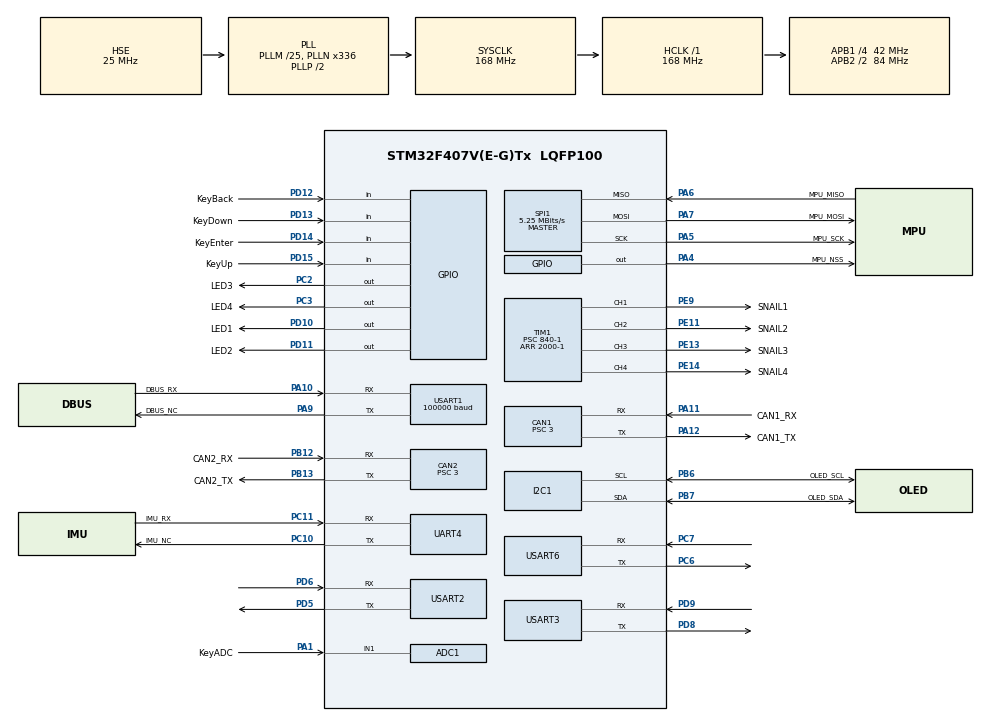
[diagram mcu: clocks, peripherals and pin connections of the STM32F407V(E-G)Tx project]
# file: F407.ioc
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ADC1.Channel-1\#ChannelRegularConversion=ADC_CHANNEL_1
ADC1.Channel-2\#ChannelInjectedConversion=ADC_CHANNEL_1
ADC1.InjNumberOfConversion=1
ADC1.InjectedOffset-2\#ChannelInjectedConversion=0
ADC1.InjectedRank-2\#ChannelInjectedConversion=1
ADC1.NbrOfConversion=1
ADC1.NbrOfConversionFlag=1
ADC1.Rank-1\#ChannelRegularConversion=1
ADC1.SamplingTime-1\#ChannelRegularConversion=ADC_SAMPLETIME_3CYCLES
ADC1.SamplingTime-2\#ChannelInjectedConversion=ADC_SAMPLETIME_3CYCLES
ADC1.master=1
CAN1.BS1=CAN_BS1_9TQ
CAN1.BS2=CAN_BS2_4TQ
CAN1.CalculateBaudRate=1000000
CAN1.CalculateTimeBit=1000
CAN1.CalculateTimeQuantum=71.42857142857143
CAN1.Prescaler=3
CAN2.BS1=CAN_BS1_9TQ
CAN2.BS2=CAN_BS2_4TQ
CAN2.CalculateBaudRate=1000000
CAN2.CalculateTimeBit=1000
CAN2.CalculateTimeQuantum=71.42857142857143
CAN2.Prescaler=3
Dma.Request0=USART1_RX
Dma.Request1=USART3_RX
Dma.Request2=USART3_TX
Dma.USART1_RX.0.Direction=DMA_PERIPH_TO_MEMORY
Dma.USART1_RX.0.FIFOMode=DMA_FIFOMODE_DISABLE
Dma.USART1_RX.0.Instance=DMA2_Stream2
Dma.USART1_RX.0.MemDataAlignment=DMA_MDATAALIGN_BYTE
Dma.USART1_RX.0.MemInc=DMA_MINC_ENABLE
Dma.USART1_RX.0.Mode=DMA_NORMAL
Dma.USART1_RX.0.PeriphDataAlignment=DMA_PDATAALIGN_BYTE
Dma.USART1_RX.0.PeriphInc=DMA_PINC_DISABLE
Dma.USART1_RX.0.Priority=DMA_PRIORITY_VERY_HIGH
Dma.USART3_RX.1.Direction=DMA_PERIPH_TO_MEMORY
Dma.USART3_RX.1.FIFOMode=DMA_FIFOMODE_DISABLE
Dma.USART3_RX.1.Instance=DMA1_Stream1
Dma.USART3_RX.1.MemDataAlignment=DMA_MDATAALIGN_BYTE
Dma.USART3_RX.1.MemInc=DMA_MINC_ENABLE
Dma.USART3_RX.1.Mode=DMA_NORMAL
Dma.USART3_RX.1.PeriphDataAlignment=DMA_PDATAALIGN_BYTE
Dma.USART3_RX.1.PeriphInc=DMA_PINC_DISABLE
Dma.USART3_RX.1.Priority=DMA_PRIORITY_MEDIUM
Dma.USART3_TX.2.Direction=DMA_MEMORY_TO_PERIPH
Dma.USART3_TX.2.FIFOMode=DMA_FIFOMODE_DISABLE
Dma.USART3_TX.2.Instance=DMA1_Stream3
Dma.USART3_TX.2.MemDataAlignment=DMA_MDATAALIGN_BYTE
Dma.USART3_TX.2.MemInc=DMA_MINC_ENABLE
Dma.USART3_TX.2.Mode=DMA_NORMAL
Dma.USART3_TX.2.PeriphDataAlignment=DMA_PDATAALIGN_BYTE
Dma.USART3_TX.2.PeriphInc=DMA_PINC_DISABLE
Dma.USART3_TX.2.Priority=DMA_PRIORITY_MEDIUM
FREERTOS.Queues01=RDtHMsg,16,uint32_t,0,Dynamic,NULL,NULL;RDtCMsg,16,uint32_t,0,Dynamic,NULL,NULL;RDtSMsg,16,uint32_t,0,Dynamic,NULL,NULL;HDtHMsg,16,uint32_t,0,Dynamic,NULL,NULL
FREERTOS.Tasks01=LED,-3,64,taskLED,Default,NULL,Dynamic,NULL,NULL;MSG,2,128,taskMsg,Default,NULL,Dynamic,NULL,NULL;UI,-1,128,taskUI,Default,NULL,Dynamic,NULL,NULL;KEY,-1,128,taskKey,Default,NULL,Dynamic,NULL,NULL;Chassis,3,512,taskChassis,Default,NULL,Dynamic,NULL,NULL;Holder,3,512,taskHolder,Default,NULL,Dynamic,NULL,NULL;Judge,2,1024,taskJudge,Default,NULL,Dynamic,NULL,NULL;Shoot,1,128,taskShoot,Default,NULL,Dynamic,NULL,NULL
FREERTOS.configENABLE_FPU=1
FREERTOS.configMAX_PRIORITIES=7
FREERTOS.configMINIMAL_STACK_SIZE=64
FREERTOS.configQUEUE_REGISTRY_SIZE=16
I2C1.DualAddressMode=I2C_DUALADDRESS_DISABLE
I2C1.I2C_Mode=I2C_Fast
I2C1.OwnAddress=0
Mcu.Family=STM32F4
Mcu.Name=STM32F407V(E-G)Tx
Mcu.Package=LQFP100
NVIC.CAN1_RX0_IRQn=true\:5\:0\:false\:false\:true\:true\:true\:true\:true
NVIC.CAN1_TX_IRQn=true\:5\:0\:false\:false\:true\:true\:true\:true\:true
NVIC.CAN2_RX0_IRQn=true\:5\:0\:false\:false\:true\:true\:true\:true\:true
NVIC.CAN2_TX_IRQn=true\:5\:0\:false\:false\:true\:true\:true\:true\:true
NVIC.DMA1_Stream1_IRQn=true\:5\:0\:false\:false\:true\:true\:false\:true\:true
NVIC.DMA1_Stream3_IRQn=true\:5\:0\:false\:false\:true\:true\:false\:true\:true
NVIC.DMA2_Stream2_IRQn=true\:5\:0\:false\:false\:true\:true\:false\:true\:true
NVIC.PriorityGroup=NVIC_PRIORITYGROUP_4
NVIC.TIM1_TRG_COM_TIM11_IRQn=true\:5\:0\:false\:false\:true\:true\:true\:true\:true
NVIC.TIM1_UP_TIM10_IRQn=true\:5\:0\:false\:false\:true\:true\:true\:true\:true
NVIC.TIM6_DAC_IRQn=true\:0\:0\:false\:false\:true\:false\:false\:true\:true
NVIC.TIM7_IRQn=true\:1\:0\:true\:false\:true\:false\:true\:true\:true
NVIC.TIM8_TRG_COM_TIM14_IRQn=true\:5\:0\:false\:false\:true\:true\:true\:true\:true
NVIC.TimeBase=TIM6_DAC_IRQn
NVIC.TimeBaseIP=TIM6
NVIC.UART4_IRQn=true\:5\:0\:false\:false\:true\:false\:true\:true\:true
NVIC.USART1_IRQn=true\:0\:0\:true\:false\:true\:false\:true\:true\:true
NVIC.USART2_IRQn=true\:5\:0\:false\:false\:true\:true\:true\:true\:true
NVIC.USART3_IRQn=true\:5\:0\:false\:false\:true\:true\:true\:true\:true
NVIC.USART6_IRQn=true\:5\:0\:false\:false\:true\:true\:true\:true\:true
PA1.GPIO_Label=KeyADC
PA1.Signal=ADCx_IN1
PA10.GPIO_Label=DBUS_RX
PA10.Mode=Asynchronous
PA10.Signal=USART1_RX
PA11.GPIO_Label=CAN1_RX
PA11.Mode=CAN_Activate
PA11.Signal=CAN1_RX
PA12.GPIO_Label=CAN1_TX
PA12.Mode=CAN_Activate
PA12.Signal=CAN1_TX
PA13.GPIO_Label=SWDIO
PA13.Mode=Serial_Wire
PA13.Signal=SYS_JTMS-SWDIO
PA14.GPIO_Label=SWCLK
PA14.Mode=Serial_Wire
PA14.Signal=SYS_JTCK-SWCLK
PA4.GPIO_Label=MPU_NSS
PA4.GPIO_PuPd=GPIO_PULLUP
PA4.GPIO_Speed=GPIO_SPEED_FREQ_HIGH
PA4.Signal=GPIO_Output
PA5.GPIO_Label=MPU_SCK
PA5.Mode=Full_Duplex_Master
PA5.Signal=SPI1_SCK
PA6.GPIO_Label=MPU_MISO
PA6.Mode=Full_Duplex_Master
PA6.Signal=SPI1_MISO
PA7.GPIO_Label=MPU_MOSI
PA7.Mode=Full_Duplex_Master
PA7.Signal=SPI1_MOSI
PA9.GPIO_Label=DBUS_NC
PA9.Mode=Asynchronous
PA9.Signal=USART1_TX
PB12.GPIO_Label=CAN2_RX
PB12.Mode=CAN_Activate
PB12.Signal=CAN2_RX
PB13.GPIO_Label=CAN2_TX
PB13.Mode=CAN_Activate
PB13.Signal=CAN2_TX
PB6.GPIO_Label=OLED_SCL
PB6.Mode=I2C
PB6.Signal=I2C1_SCL
PB7.GPIO_Label=OLED_SDA
PB7.Mode=I2C
PB7.Signal=I2C1_SDA
PC10.GPIO_Label=IMU_NC
PC10.Mode=Asynchronous
PC10.Signal=UART4_TX
PC11.GPIO_Label=IMU_RX
PC11.Mode=Asynchronous
PC11.Signal=UART4_RX
PC2.GPIO_Label=LED3
PC2.GPIO_PuPd=GPIO_PULLUP
PC2.GPIO_Speed=GPIO_SPEED_FREQ_HIGH
PC2.Signal=GPIO_Output
PC3.GPIO_Label=LED4
PC3.GPIO_PuPd=GPIO_PULLUP
PC3.GPIO_Speed=GPIO_SPEED_FREQ_HIGH
PC3.Signal=GPIO_Output
PC6.Mode=Asynchronous
PC6.Signal=USART6_TX
PC7.Mode=Asynchronous
PC7.Signal=USART6_RX
PD10.GPIO_Label=LED1
PD10.GPIO_PuPd=GPIO_PULLUP
PD10.GPIO_Speed=GPIO_SPEED_FREQ_HIGH
PD10.Signal=GPIO_Output
PD11.GPIO_Label=LED2
PD11.GPIO_PuPd=GPIO_PULLUP
PD11.GPIO_Speed=GPIO_SPEED_FREQ_HIGH
PD11.Signal=GPIO_Output
PD12.GPIO_Label=KeyBack
PD12.GPIO_PuPd=GPIO_PULLUP
PD12.Signal=GPIO_Input
PD13.GPIO_Label=KeyDown
PD13.GPIO_PuPd=GPIO_PULLUP
PD13.Signal=GPIO_Input
PD14.GPIO_Label=KeyEnter
PD14.GPIO_PuPd=GPIO_PULLUP
PD14.Signal=GPIO_Input
PD15.GPIO_Label=KeyUp
PD15.GPIO_PuPd=GPIO_PULLUP
PD15.Signal=GPIO_Input
PD5.Mode=Asynchronous
PD5.Signal=USART2_TX
PD6.Mode=Asynchronous
PD6.Signal=USART2_RX
PD8.Mode=Asynchronous
PD8.Signal=USART3_TX
PD9.Mode=Asynchronous
PD9.Signal=USART3_RX
PE11.GPIO_Label=SNAIL2
PE11.Signal=S_TIM1_CH2
PE13.GPIO_Label=SNAIL3
PE13.Signal=S_TIM1_CH3
PE14.GPIO_Label=SNAIL4
PE14.Signal=S_TIM1_CH4
PE9.GPIO_Label=SNAIL1
PE9.Signal=S_TIM1_CH1
PH0-OSC_IN.GPIO_Label=OSC_IN
PH0-OSC_IN.Mode=HSE-External-Oscillator
PH0-OSC_IN.Signal=RCC_OSC_IN
PH1-OSC_OUT.GPIO_Label=OSC_OUT
PH1-OSC_OUT.Mode=HSE-External-Oscillator
PH1-OSC_OUT.Signal=RCC_OSC_OUT
ProjectManager.HeapSize=0x200
ProjectManager.StackSize=0x400
ProjectManager.TargetToolchain=MDK-ARM V5
RCC.48MHZClocksFreq_Value=84000000
RCC.AHBFreq_Value=168000000
RCC.APB1CLKDivider=RCC_HCLK_DIV4
RCC.APB1Freq_Value=42000000
RCC.APB1TimFreq_Value=84000000
RCC.APB2CLKDivider=RCC_HCLK_DIV2
RCC.APB2Freq_Value=84000000
RCC.APB2TimFreq_Value=168000000
RCC.CortexFreq_Value=168000000
RCC.HCLKFreq_Value=168000000
RCC.HSE_VALUE=25000000
RCC.HSI_VALUE=16000000
RCC.LSE_VALUE=32768
RCC.PLLM=25
RCC.PLLN=336
RCC.PLLSourceVirtual=RCC_PLLSOURCE_HSE
RCC.SYSCLKFreq_VALUE=168000000
RCC.SYSCLKSource=RCC_SYSCLKSOURCE_PLLCLK
RCC.VCOOutputFreq_Value=336000000
SH.ADCx_IN1.0=ADC1_IN1,IN1
SH.S_TIM1_CH1.0=TIM1_CH1,PWM Generation1 CH1
SH.S_TIM1_CH2.0=TIM1_CH2,PWM Generation2 CH2
SH.S_TIM1_CH3.0=TIM1_CH3,PWM Generation3 CH3
SH.S_TIM1_CH4.0=TIM1_CH4,PWM Generation4 CH4
SPI1.BaudRatePrescaler=SPI_BAUDRATEPRESCALER_16
SPI1.CLKPhase=SPI_PHASE_2EDGE
SPI1.CLKPolarity=SPI_POLARITY_HIGH
SPI1.CRCCalculation=SPI_CRCCALCULATION_DISABLE
SPI1.CalculateBaudRate=5.25 MBits/s
SPI1.Direction=SPI_DIRECTION_2LINES
SPI1.Mode=SPI_MODE_MASTER
SPI1.VirtualType=VM_MASTER
TIM1.Channel-PWM\ Generation1\ CH1=TIM_CHANNEL_1
TIM1.Channel-PWM\ Generation2\ CH2=TIM_CHANNEL_2
TIM1.Channel-PWM\ Generation3\ CH3=TIM_CHANNEL_3
TIM1.Channel-PWM\ Generation4\ CH4=TIM_CHANNEL_4
TIM1.Period=2000-1
TIM1.Prescaler=840-1
TIM1.Pulse-PWM\ Generation1\ CH1=1000
TIM1.Pulse-PWM\ Generation2\ CH2=1000
TIM1.Pulse-PWM\ Generation3\ CH3=1000
TIM1.Pulse-PWM\ Generation4\ CH4=1000
TIM10.Period=6667-1
TIM10.Prescaler=84-1
TIM11.Period=6667-1
TIM11.Prescaler=84-1
TIM14.Period=2500-1
TIM14.Prescaler=8400-1
TIM7.Period=65536-1
TIM7.Prescaler=84-1
UART4.VirtualMode=Asynchronous
USART1.BaudRate=100000
USART1.Mode=MODE_RX
USART1.Parity=PARITY_EVEN
USART1.VirtualMode=VM_ASYNC
USART1.WordLength=WORDLENGTH_9B
USART2.VirtualMode=VM_ASYNC
USART3.VirtualMode=VM_ASYNC
USART6.VirtualMode=VM_ASYNC
VP_FREERTOS_VS_CMSIS_V1.Mode=CMSIS_V1
VP_SYS_VS_tim6.Mode=TIM6
VP_TIM10_VS_ClockSourceINT.Mode=Enable_Timer
VP_TIM11_VS_ClockSourceINT.Mode=Enable_Timer
VP_TIM14_VS_ClockSourceINT.Mode=Enable_Timer
VP_TIM7_VS_ClockSourceINT.Mode=Enable_Timer
board=custom

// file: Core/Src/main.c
/* USER CODE BEGIN Header */
/**
  ******************************************************************************
  * @file           : main.c
  * @brief          : Main program body
  ******************************************************************************
  * @attention
  *
  * <h2><center>&copy; Copyright (c) 2020 STMicroelectronics.
  * All rights reserved.</center></h2>
  *
  * This software component is licensed by ST under Ultimate Liberty license
  * SLA0044, the "License"; You may not use this file except in compliance with
  * the License. You may obtain a copy of the License at:
  *                             www.st.com/SLA0044
  *
  ******************************************************************************
  */
/* USER CODE END Header */
#include "main.h"
#include "cmsis_os.h"
#include "adc.h"
#include "can.h"
#include "dma.h"
#include "i2c.h"
#include "spi.h"
#include "tim.h"
#include "usart.h"
#include "gpio.h"

/* USER CODE BEGIN Includes */
#include "mpu6500.h"
#include "oled.h"
#include <string.h>
#include "chassis.h"
#include "holder.h"
#include "judge.h"
#include "ammunition.h"
#include "frictiongear.h"

/* USER CODE END Includes */

void SystemClock_Config(void);
void MX_FREERTOS_Init(void);

int main(void)
{

  /* MCU Configuration--------------------------------------------------------*/

  /* Reset of all peripherals, Initializes the Flash interface and the Systick. */
  HAL_Init();

  /* Configure the system clock */
  SystemClock_Config();

  /* Initialize all configured peripherals */
  MX_GPIO_Init();
  MX_DMA_Init();
  MX_USART1_UART_Init();
  MX_USART2_UART_Init();
  MX_CAN1_Init();
  MX_CAN2_Init();
  MX_I2C1_Init();
  MX_UART4_Init();
  MX_SPI1_Init();
  MX_TIM7_Init();
  MX_TIM14_Init();
  MX_ADC1_Init();
  MX_TIM1_Init();
  MX_TIM10_Init();
  MX_USART3_UART_Init();
  MX_USART6_UART_Init();
  MX_TIM11_Init();
  /* USER CODE BEGIN 2 */
	Judge_InitData();
	UART4_IMUStart();
	UART3_JudgeStart();
	UART6_VisionStart();
  UART1_RemoteStart();
  TIM1_PWMSTART();
  TIM14_START();
	CAN1_FilterInit();
  CAN2_FilterInit();
	TIM_TX_START();
  ADC1_IN1START();
  OLED_Init();
  HAL_Delay(1000);
  /* USER CODE END 2 */

  /* Call init function for freertos objects (in freertos.c) */
  MX_FREERTOS_Init();
  /* Start scheduler */
  osKernelStart();

  /* We should never get here as control is now taken by the scheduler */
  /* Infinite loop */
  while (1)
  {

  }
}

void SystemClock_Config(void)
{
  RCC_OscInitTypeDef RCC_OscInitStruct = {0};
  RCC_ClkInitTypeDef RCC_ClkInitStruct = {0};

  /** Configure the main internal regulator output voltage
  */
  __HAL_RCC_PWR_CLK_ENABLE();
  __HAL_PWR_VOLTAGESCALING_CONFIG(PWR_REGULATOR_VOLTAGE_SCALE1);
  /** Initializes the RCC Oscillators according to the specified parameters
  * in the RCC_OscInitTypeDef structure.
  */
  RCC_OscInitStruct.OscillatorType = RCC_OSCILLATORTYPE_HSE;
  RCC_OscInitStruct.HSEState = RCC_HSE_ON;
  RCC_OscInitStruct.PLL.PLLState = RCC_PLL_ON;
  RCC_OscInitStruct.PLL.PLLSource = RCC_PLLSOURCE_HSE;
  RCC_OscInitStruct.PLL.PLLM = 25;
  RCC_OscInitStruct.PLL.PLLN = 336;
  RCC_OscInitStruct.PLL.PLLP = RCC_PLLP_DIV2;
  RCC_OscInitStruct.PLL.PLLQ = 4;
  if (HAL_RCC_OscConfig(&RCC_OscInitStruct) != HAL_OK)
  {
    Error_Handler();
  }
  /** Initializes the CPU, AHB and APB buses clocks
  */
  RCC_ClkInitStruct.ClockType = RCC_CLOCKTYPE_HCLK|RCC_CLOCKTYPE_SYSCLK
                              |RCC_CLOCKTYPE_PCLK1|RCC_CLOCKTYPE_PCLK2;
  RCC_ClkInitStruct.SYSCLKSource = RCC_SYSCLKSOURCE_PLLCLK;
  RCC_ClkInitStruct.AHBCLKDivider = RCC_SYSCLK_DIV1;
  RCC_ClkInitStruct.APB1CLKDivider = RCC_HCLK_DIV4;
  RCC_ClkInitStruct.APB2CLKDivider = RCC_HCLK_DIV2;

  if (HAL_RCC_ClockConfig(&RCC_ClkInitStruct, FLASH_LATENCY_5) != HAL_OK)
  {
    Error_Handler();
  }
}

 /**
  * @brief  Period elapsed callback in non blocking mode
  * @note   This function is called  when TIM6 interrupt took place, inside
  * HAL_TIM_IRQHandler(). It makes a direct call to HAL_IncTick() to increment
  * a global variable "uwTick" used as application time base.
  * @param  htim : TIM handle
  * @retval None
  */
void HAL_TIM_PeriodElapsedCallback(TIM_HandleTypeDef *htim)
{
  if (htim->Instance == TIM6) {
    HAL_IncTick();
  }
  /* USER CODE BEGIN Callback 1 */
  if(htim->Instance == TIM14)
	{
    Observer.Tx = Observer.Rx;
    memset(&Observer.Rx,0,sizeof(rate_t));
  }
	if(htim->Instance == TIM10)
	{
		CAN1_Transmit(0x200,Frictiongear.CanData1);    //摩擦轮控制
		CAN1_Transmit(0x1FF,Holder.Pitch.CanData);				//俯仰控制
		CAN1_Transmit(0x2FF,Holder.Pitch.CanData);				//俯仰控制
	}
	if(htim->Instance == TIM11)
	{
		CAN2_Transmit(0x500,Chassis.CanData);            //发送三向速度目标值（0-5）和是否应该发弹（6）、遥控器开启标志（7）
		CAN2_Transmit(0x600,Holder.Yaw.CanData);         //发送云台目前状态和遥控器控制信息给底盘、
		CAN2_Transmit(0x700,Chassis.Key_SUPERCAP);				//发送超级电容开启标志
		//	CanTranPower();
	}
  /* USER CODE END Callback 1 */
}

void Error_Handler(void)
{
}

/************************ (C) COPYRIGHT STMicroelectronics *****END OF FILE****/

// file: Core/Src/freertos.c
/* USER CODE BEGIN Header */
/**
  ******************************************************************************
  * File Name          : freertos.c
  * Description        : Code for freertos applications
  ******************************************************************************
  * @attention
  *
  * <h2><center>&copy; Copyright (c) 2020 STMicroelectronics.
  * All rights reserved.</center></h2>
  *
  * This software component is licensed by ST under Ultimate Liberty license
  * SLA0044, the "License"; You may not use this file except in compliance with
  * the License. You may obtain a copy of the License at:
  *                             www.st.com/SLA0044
  *
  ******************************************************************************
  */
/* USER CODE END Header */

#include "FreeRTOS.h"
#include "task.h"
#include "main.h"
#include "cmsis_os.h"

/* USER CODE BEGIN Includes */
#include "tim.h"
#include "usart.h"
#include "message.h"
#include "holder.h"
#include "chassis.h"
#include "ui.h"
#include "keyboard.h"
#include "pid.h"
#include "can.h"
#include "judge.h"
#include "ammunition.h"
#include "frictiongear.h"
#include "vision.h"
/* USER CODE END Includes */

/* USER CODE BEGIN Variables */
osEvent evt;
osEvent evt1;
/* USER CODE END Variables */
osThreadId LEDHandle;
osThreadId MSGHandle;
osThreadId UIHandle;
osThreadId KEYHandle;
osThreadId ChassisHandle;
osThreadId HolderHandle;
osThreadId JudgeHandle;
osThreadId ShootHandle;
osMessageQId RDtHMsgHandle;
osMessageQId RDtCMsgHandle;
osMessageQId RDtSMsgHandle;
osMessageQId HDtHMsgHandle;

void taskLED(void const * argument);
void taskMsg(void const * argument);
void taskUI(void const * argument);
void taskKey(void const * argument);
void taskChassis(void const * argument);
void taskHolder(void const * argument);
void taskJudge(void const * argument);
void taskShoot(void const * argument);

void MX_FREERTOS_Init(void); /* (MISRA C 2004 rule 8.1) */

/* GetIdleTaskMemory prototype (linked to static allocation support) */
void vApplicationGetIdleTaskMemory( StaticTask_t **ppxIdleTaskTCBBuffer, StackType_t **ppxIdleTaskStackBuffer, uint32_t *pulIdleTaskStackSize );

/* USER CODE BEGIN GET_IDLE_TASK_MEMORY */
static StaticTask_t xIdleTaskTCBBuffer;
static StackType_t xIdleStack[configMINIMAL_STACK_SIZE];

void vApplicationGetIdleTaskMemory( StaticTask_t **ppxIdleTaskTCBBuffer, StackType_t **ppxIdleTaskStackBuffer, uint32_t *pulIdleTaskStackSize )
{
  *ppxIdleTaskTCBBuffer = &xIdleTaskTCBBuffer;
  *ppxIdleTaskStackBuffer = &xIdleStack[0];
  *pulIdleTaskStackSize = configMINIMAL_STACK_SIZE;
  /* place for user code */
}
/* USER CODE END GET_IDLE_TASK_MEMORY */

void MX_FREERTOS_Init(void) {

  /* Create the queue(s) */
  /* definition and creation of RDtHMsg */
  osMessageQDef(RDtHMsg, 16, uint32_t);
  RDtHMsgHandle = osMessageCreate(osMessageQ(RDtHMsg), NULL);

  /* definition and creation of RDtCMsg */
  osMessageQDef(RDtCMsg, 16, uint32_t);
  RDtCMsgHandle = osMessageCreate(osMessageQ(RDtCMsg), NULL);

  /* definition and creation of RDtSMsg */
  osMessageQDef(RDtSMsg, 16, uint32_t);
  RDtSMsgHandle = osMessageCreate(osMessageQ(RDtSMsg), NULL);

  /* definition and creation of HDtHMsg */
  osMessageQDef(HDtHMsg, 16, uint32_t);
  HDtHMsgHandle = osMessageCreate(osMessageQ(HDtHMsg), NULL);

  /* Create the thread(s) */
  /* definition and creation of LED */
  osThreadDef(LED, taskLED, osPriorityIdle, 0, 64);
  LEDHandle = osThreadCreate(osThread(LED), NULL);

  /* definition and creation of MSG */
  osThreadDef(MSG, taskMsg, osPriorityHigh, 0, 128);
  MSGHandle = osThreadCreate(osThread(MSG), NULL);

  /* definition and creation of UI */
  osThreadDef(UI, taskUI, osPriorityBelowNormal, 0, 128);
  UIHandle = osThreadCreate(osThread(UI), NULL);

  /* definition and creation of KEY */
  osThreadDef(KEY, taskKey, osPriorityBelowNormal, 0, 128);
  KEYHandle = osThreadCreate(osThread(KEY), NULL);

  /* definition and creation of Chassis */
  osThreadDef(Chassis, taskChassis, osPriorityRealtime, 0, 512);
  ChassisHandle = osThreadCreate(osThread(Chassis), NULL);

  /* definition and creation of Holder */
  osThreadDef(Holder, taskHolder, osPriorityRealtime, 0, 512);
  HolderHandle = osThreadCreate(osThread(Holder), NULL);

  /* definition and creation of Judge */
  osThreadDef(Judge, taskJudge, osPriorityHigh, 0, 1024);
  JudgeHandle = osThreadCreate(osThread(Judge), NULL);

  /* definition and creation of Shoot */
  osThreadDef(Shoot, taskShoot, osPriorityAboveNormal, 0, 128);
  ShootHandle = osThreadCreate(osThread(Shoot), NULL);

}

void taskLED(void const * argument)
{
  /* USER CODE BEGIN taskLED */
    HAL_GPIO_WritePin(GPIOD, LED1_Pin, GPIO_PIN_RESET);
    HAL_GPIO_WritePin(GPIOD, LED2_Pin, GPIO_PIN_SET);
    HAL_GPIO_WritePin(GPIOC, LED3_Pin, GPIO_PIN_RESET);
    HAL_GPIO_WritePin(GPIOC, LED4_Pin, GPIO_PIN_SET);
  /* Infinite loop */
  for(;;)
  {
    HAL_GPIO_TogglePin(GPIOD, LED1_Pin);
    HAL_GPIO_TogglePin(GPIOD, LED2_Pin);
    HAL_GPIO_TogglePin(GPIOC, LED3_Pin);
    HAL_GPIO_TogglePin(GPIOC, LED4_Pin);
    TIM1_SetPWMPluse(pluse);
		Vision_SendData();
    osDelay(1);
  }
  /* USER CODE END taskLED */
}

void taskMsg(void const * argument)
{
  /* USER CODE BEGIN taskMsg */
	keyboard_controlinit();
  /* Infinite loop */
  for(;;)
  {
    RemoteData_t RDMsg;
    HolderData_t HDMsg;
    RemoteDataMsg_Process(&RDMsg);
    HolderDataMsg_Process(&HDMsg);
	  keyboard_state_judge(RDMsg,HDMsg);
    osMessagePut(RDtHMsgHandle,(uint32_t)&RDMsg,0);
    osMessagePut(RDtCMsgHandle,(uint32_t)&RDMsg,0);
    osMessagePut(HDtHMsgHandle,(uint32_t)&HDMsg,0);
		osMessagePut(RDtSMsgHandle,(uint32_t)&HDMsg,0);
    osDelay(10);
  }
  /* USER CODE END taskMsg */
}

void taskUI(void const * argument)
{
  /* USER CODE BEGIN taskUI */
  UI_Init();
  /* Infinite loop */
  for(;;)
  {
    UI_Process();
    osDelay(10);
  }
  /* USER CODE END taskUI */
}

void taskKey(void const * argument)
{
  /* USER CODE BEGIN taskKey */
  /* Infinite loop */
  for(;;)
  {
    Key_Process();
    osDelay(10);
  }
  /* USER CODE END taskKey */
}

/* USER CODE BEGIN Header_taskChassis */
/**
* @brief Function implementing the Chassis thread.
* @param argument: Not use\d
* @retval None
*/
/* USER CODE END Header_taskChassis */
void taskChassis(void const * argument)
{
  /* USER CODE BEGIN taskChassis */
  Chassis_PidInit();
  /* Infinite loop */
  for(;;)
  {
    evt = osMessageGet(RDtCMsgHandle,0);
		evt1= osMessageGet(RDtSMsgHandle,0);
    if(evt.status == osEventMessage)
    {
        Observer.Rx.ChassisMsg_Rate++;
        RemoteData_t *RDMsg = (RemoteData_t*)evt.value.v;
			  HolderData_t *HDMsg = (HolderData_t*)evt1.value.v;
  		  Chassis_Process(*RDMsg,*HDMsg);
//			uint16_t power = (uint16_t)JUDGE_f32GetChassisPower();
//  	    UART_SendWave(2,2,&Chassis.MoveData.Front,&Chassis.MoveData.Right);
//				_TarCurrent=Chassis.M3508[0].TarCurrent;
//				_RxCurrent=Chassis.M3508[0].Rx.Current;
//				_TarSpeed=Chassis.M3508[0].TarSpeed;
//				_RxSpeed=Chassis.M3508[0].Rx.Speed;
//				_OutputLpf=Chassis.M3508[0].OutputLpf;

		}
		    osDelay(1);
  }
  /* USER CODE END taskChassis */
}

/* USER CODE BEGIN Header_taskHolder */
/*
* @brief Function implementing the Holder thread.
* @param argument: Not used
* @retval None
*/

/* USER CODE END Header_taskHolder */
void taskHolder(void const * argument)
{
  /* USER CODE BEGIN taskHolder */
	osDelay(1000);
	Holder_PidInit();
	vision_init();
  /* Infinite loop */
  for(;;)
  {
    evt = osMessageGet(RDtHMsgHandle,0);
		evt1= osMessageGet(HDtHMsgHandle,0);
    if(evt.status == osEventMessage)
    {
        Observer.Rx.HolderMsg_Rate++;
        RemoteData_t *RDMsg = (RemoteData_t*)evt.value.v;
			  HolderData_t *HDMsg = (HolderData_t*)evt1.value.v;
			  HolderMsg_Process(*RDMsg,*HDMsg);
//				UART_SendWave(2,2,&Chassis.MoveData.Front,&Chassis.MoveData.Right);
//      UART_SendWave(5,2,&Holder.Pitch._0x20A.TarAngleLpf,&Holder.Pitch._0x20A.Rx.AngleLpf,&Holder.Pitch._0x20A.TarSpeed,&Holder.Pitch.gyoSpeed,&Holder.Pitch._0x20A.OutputLpf);
//		  UART_SendWave(5,2,&Holder.Yaw._0x209.TarAngleLpf,&Holder.Yaw.Rx.Angle,&Holder.Yaw._0x209.TarSpeed,&Holder.Yaw.Rx.Speed,&Holder.Yaw._0x209.OutputLpf);
//				UART_SendWave(2,2,&Holder.Yaw._0x209.TarAngleLpf,&Holder.Yaw.Rx.AngleLpf);
//			printf("%d, %d, %d\n", Holder.Yaw._0x209.TarAngleLpf, Holder.Yaw.Rx.Angle, Holder.Yaw ._0x209.OutputLpf);
		}
		osDelay(2);
	}
  /* USER CODE END taskHolder */
}

void taskJudge(void const * argument)
{
  /* USER CODE BEGIN taskJudge */
	Judge_InitData();
  /* Infinite loop */
  for(;;)
  {
     Judge_Process();
     osDelay(10);
  }
  /* USER CODE END taskJudge */
}

void taskShoot(void const * argument)
{
  /* USER CODE BEGIN taskShoot */
	Ammunition_PidInit();
	Frictiongear_PidInit();
  /* Infinite loop */
  for(;;)
  {
		Ammunition_Process();
		Frictiongear_Process();
//    UART_SendWave(5,2,&Frictiongear.Rxspeed,&Frictiongear._0x202.TarSpeed,&Frictiongear._0x201.Rx.SpeedLpf,&Frictiongear._0x201.TarSpeed,&Frictiongear._0x202.OutputLpf);
//  	UART_SendWave(7,2,&Ammunition.TarCurrent,&Ammunition.RxCurrentLPf,&Ammunition.TarSpeed,&Ammunition.RxSpeedLPf,&Ammunition._0x206.OutputLpf,&Frictiongear._0x201.Rx.SpeedLpf,&Frictiongear.Rxspeed);
		osDelay(10);
  }
  /* USER CODE END taskShoot */
}

/************************ (C) COPYRIGHT STMicroelectronics *****END OF FILE****/
